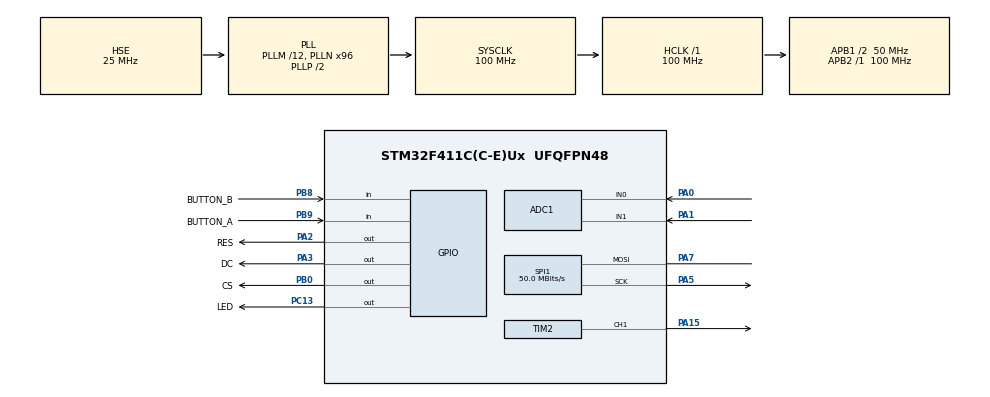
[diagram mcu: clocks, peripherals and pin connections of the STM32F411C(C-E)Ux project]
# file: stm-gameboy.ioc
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ADC1.Channel-0\#ChannelRegularConversion=ADC_CHANNEL_1
ADC1.Channel-1\#ChannelRegularConversion=ADC_CHANNEL_0
ADC1.ContinuousConvMode=ENABLE
ADC1.DMAContinuousRequests=ENABLE
ADC1.NbrOfConversion=2
ADC1.NbrOfConversionFlag=1
ADC1.Rank-0\#ChannelRegularConversion=1
ADC1.Rank-1\#ChannelRegularConversion=2
ADC1.SamplingTime-0\#ChannelRegularConversion=ADC_SAMPLETIME_84CYCLES
ADC1.SamplingTime-1\#ChannelRegularConversion=ADC_SAMPLETIME_84CYCLES
ADC1.master=1
Dma.ADC1.0.Direction=DMA_PERIPH_TO_MEMORY
Dma.ADC1.0.FIFOMode=DMA_FIFOMODE_DISABLE
Dma.ADC1.0.Instance=DMA2_Stream0
Dma.ADC1.0.MemDataAlignment=DMA_MDATAALIGN_WORD
Dma.ADC1.0.MemInc=DMA_MINC_ENABLE
Dma.ADC1.0.Mode=DMA_CIRCULAR
Dma.ADC1.0.PeriphDataAlignment=DMA_PDATAALIGN_WORD
Dma.ADC1.0.PeriphInc=DMA_PINC_DISABLE
Dma.ADC1.0.Priority=DMA_PRIORITY_LOW
Dma.Request0=ADC1
Dma.Request1=SPI1_TX
Dma.SPI1_TX.1.Direction=DMA_MEMORY_TO_PERIPH
Dma.SPI1_TX.1.FIFOMode=DMA_FIFOMODE_DISABLE
Dma.SPI1_TX.1.Instance=DMA2_Stream2
Dma.SPI1_TX.1.MemDataAlignment=DMA_MDATAALIGN_BYTE
Dma.SPI1_TX.1.MemInc=DMA_MINC_ENABLE
Dma.SPI1_TX.1.Mode=DMA_NORMAL
Dma.SPI1_TX.1.PeriphDataAlignment=DMA_PDATAALIGN_BYTE
Dma.SPI1_TX.1.PeriphInc=DMA_PINC_DISABLE
Dma.SPI1_TX.1.Priority=DMA_PRIORITY_HIGH
Mcu.Family=STM32F4
Mcu.Name=STM32F411C(C-E)Ux
Mcu.Package=UFQFPN48
NVIC.DMA2_Stream0_IRQn=true\:0\:0\:false\:false\:true\:false\:true\:true
NVIC.DMA2_Stream2_IRQn=true\:0\:0\:false\:false\:true\:false\:true\:true
NVIC.PriorityGroup=NVIC_PRIORITYGROUP_4
NVIC.TIM1_UP_TIM10_IRQn=true\:0\:0\:false\:false\:true\:true\:true\:true
PA0-WKUP.Signal=ADCx_IN0
PA1.Signal=ADCx_IN1
PA13.Mode=Serial_Wire
PA13.Signal=SYS_JTMS-SWDIO
PA14.Mode=Serial_Wire
PA14.Signal=SYS_JTCK-SWCLK
PA15.Signal=S_TIM2_CH1_ETR
PA2.GPIO_Label=RES
PA2.Signal=GPIO_Output
PA3.GPIO_Label=DC
PA3.Signal=GPIO_Output
PA5.Mode=Simplex_Bidirectional_Master
PA5.Signal=SPI1_SCK
PA7.Mode=Simplex_Bidirectional_Master
PA7.Signal=SPI1_MOSI
PB0.GPIO_Label=CS
PB0.Signal=GPIO_Output
PB8.GPIO_Label=BUTTON_B
PB8.GPIO_PuPd=GPIO_PULLDOWN
PB8.Signal=GPIO_Input
PB9.GPIO_Label=BUTTON_A
PB9.GPIO_PuPd=GPIO_PULLDOWN
PB9.Signal=GPIO_Input
PC13-ANTI_TAMP.GPIO_Label=LED
PC13-ANTI_TAMP.Signal=GPIO_Output
PH0\ -\ OSC_IN.Mode=HSE-External-Oscillator
PH0\ -\ OSC_IN.Signal=RCC_OSC_IN
PH1\ -\ OSC_OUT.Mode=HSE-External-Oscillator
PH1\ -\ OSC_OUT.Signal=RCC_OSC_OUT
ProjectManager.HeapSize=0x200
ProjectManager.StackSize=0x400
ProjectManager.TargetToolchain=Makefile
RCC.48MHZClocksFreq_Value=50000000
RCC.AHBFreq_Value=100000000
RCC.APB1CLKDivider=RCC_HCLK_DIV2
RCC.APB1Freq_Value=50000000
RCC.APB1TimFreq_Value=100000000
RCC.APB2Freq_Value=100000000
RCC.APB2TimFreq_Value=100000000
RCC.CortexFreq_Value=100000000
RCC.HCLKFreq_Value=100000000
RCC.HSE_VALUE=25000000
RCC.HSI_VALUE=16000000
RCC.LSE_VALUE=32768
RCC.PLLM=12
RCC.PLLN=96
RCC.PLLSourceVirtual=RCC_PLLSOURCE_HSE
RCC.SYSCLKFreq_VALUE=100000000
RCC.SYSCLKSource=RCC_SYSCLKSOURCE_PLLCLK
RCC.VCOOutputFreq_Value=200000000
SH.ADCx_IN0.0=ADC1_IN0,IN0
SH.ADCx_IN1.0=ADC1_IN1,IN1
SH.S_TIM2_CH1_ETR.0=TIM2_CH1,PWM Generation1 CH1
SPI1.BaudRatePrescaler=SPI_BAUDRATEPRESCALER_2
SPI1.CalculateBaudRate=50.0 MBits/s
SPI1.Direction=SPI_DIRECTION_1LINE
SPI1.Mode=SPI_MODE_MASTER
SPI1.VirtualType=VM_MASTER
TIM10.Period=333-1
TIM10.Prescaler=10000-1
TIM2.Channel-PWM\ Generation1\ CH1=TIM_CHANNEL_1
TIM2.Period=10-1
TIM2.Prescaler=10000-1
VP_TIM10_VS_ClockSourceINT.Mode=Enable_Timer
board=custom

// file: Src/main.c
/* USER CODE BEGIN Header */
/**
  ******************************************************************************
  * @file           : main.c
  * @brief          : Main program body
  ******************************************************************************
  * @attention
  *
  * Copyright (c) 2022 STMicroelectronics.
  * All rights reserved.
  *
  * This software is licensed under terms that can be found in the LICENSE file
  * in the root directory of this software component.
  * If no LICENSE file comes with this software, it is provided AS-IS.
  *
  ******************************************************************************
  */
/* USER CODE END Header */
#include "main.h"
#include "adc.h"
#include "dma.h"
#include "spi.h"
#include "tim.h"
#include "gpio.h"

/* USER CODE BEGIN Includes */
#include "st7735.h"
#include "space_invaders.h"
#include "stjoystick.h"
#include "stbutton.h"
/* USER CODE END Includes */

/* USER CODE BEGIN PV */
static button_t buttonA;
/* USER CODE END PV */

void SystemClock_Config(void);

int main(void)
{

  /* MCU Configuration--------------------------------------------------------*/

  /* Reset of all peripherals, Initializes the Flash interface and the Systick. */
  HAL_Init();

  /* Configure the system clock */
  SystemClock_Config();

  /* Initialize all configured peripherals */
  MX_GPIO_Init();
  MX_DMA_Init();
  MX_ADC1_Init();
  MX_SPI1_Init();
  MX_TIM10_Init();
  MX_TIM2_Init();

  /* Infinite loop */
  /* USER CODE BEGIN WHILE */
  ST7735_Init();
  HAL_ADC_Start_DMA(&hadc1, XY, 2);
  SPACEINV_Init();
  STB_InitButton(&buttonA, GPIOB, BUTTON_A_Pin);
  HAL_Delay(2000);
  HAL_TIM_PWM_Start(&htim2, TIM_CHANNEL_1);
  TIM2->CCR1 = 0;
  HAL_TIM_Base_Start_IT(&htim10);
  while (1)
  {
    /* USER CODE END WHILE */

    /* USER CODE BEGIN 3 */
    if(STB_GetButtonEvent(&buttonA) == SINGLE_PRESS)
    {
      switch (gameState)
      {
        case START:
          gameState = RUNNING;
          break;
        case RUNNING:
          SPACEINV_PlayerShoot();
          break;
        case GAME_OVER:
          SPACEINV_Reset();
          break;
        case WIN:
          SPACEINV_Reset();
          break;
        case KONAMICODE:
          SPACEINV_Reset();
          break;
        default:
          break;
      }
    }
  }
  /* USER CODE END 3 */
}

void SystemClock_Config(void)
{
  RCC_OscInitTypeDef RCC_OscInitStruct = {0};
  RCC_ClkInitTypeDef RCC_ClkInitStruct = {0};

  /** Configure the main internal regulator output voltage
  */
  __HAL_RCC_PWR_CLK_ENABLE();
  __HAL_PWR_VOLTAGESCALING_CONFIG(PWR_REGULATOR_VOLTAGE_SCALE1);

  /** Initializes the RCC Oscillators according to the specified parameters
  * in the RCC_OscInitTypeDef structure.
  */
  RCC_OscInitStruct.OscillatorType = RCC_OSCILLATORTYPE_HSE;
  RCC_OscInitStruct.HSEState = RCC_HSE_ON;
  RCC_OscInitStruct.PLL.PLLState = RCC_PLL_ON;
  RCC_OscInitStruct.PLL.PLLSource = RCC_PLLSOURCE_HSE;
  RCC_OscInitStruct.PLL.PLLM = 12;
  RCC_OscInitStruct.PLL.PLLN = 96;
  RCC_OscInitStruct.PLL.PLLP = RCC_PLLP_DIV2;
  RCC_OscInitStruct.PLL.PLLQ = 4;
  if (HAL_RCC_OscConfig(&RCC_OscInitStruct) != HAL_OK)
  {
    Error_Handler();
  }

  /** Initializes the CPU, AHB and APB buses clocks
  */
  RCC_ClkInitStruct.ClockType = RCC_CLOCKTYPE_HCLK|RCC_CLOCKTYPE_SYSCLK
                              |RCC_CLOCKTYPE_PCLK1|RCC_CLOCKTYPE_PCLK2;
  RCC_ClkInitStruct.SYSCLKSource = RCC_SYSCLKSOURCE_PLLCLK;
  RCC_ClkInitStruct.AHBCLKDivider = RCC_SYSCLK_DIV1;
  RCC_ClkInitStruct.APB1CLKDivider = RCC_HCLK_DIV2;
  RCC_ClkInitStruct.APB2CLKDivider = RCC_HCLK_DIV1;

  if (HAL_RCC_ClockConfig(&RCC_ClkInitStruct, FLASH_LATENCY_3) != HAL_OK)
  {
    Error_Handler();
  }
}

void Error_Handler(void)
{
  __disable_irq();
  while (1)
  {
  }
}
